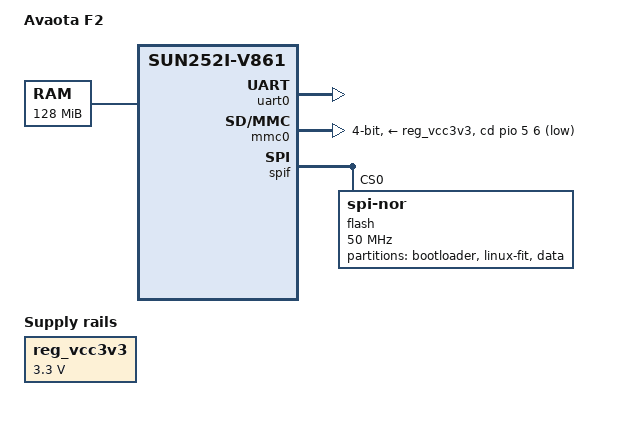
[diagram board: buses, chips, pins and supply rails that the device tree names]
// SPDX-License-Identifier: (GPL-2.0-only OR MIT)
/* Copyright (c) 2026 Han Gao <gaohan@iscas.ac.cn> */

/dts-v1/;

#include "sun252i-v861.dtsi"
#include <dt-bindings/gpio/gpio.h>

/ {
	model = "Avaota F2";
	compatible = "avaota,avaota-f2", "allwinner,sun252i-v861";

	aliases {
		serial0 = &uart0;
		mmc0 = &mmc0;
		spi0 = &spif;
	};

	reg_vcc3v3: regulator-vcc3v3 {
		compatible = "regulator-fixed";
		regulator-name = "vcc-3v3";
		regulator-min-microvolt = <3300000>;
		regulator-max-microvolt = <3300000>;
		regulator-always-on;
	};

	chosen {
		stdout-path = "serial0:115200n8";
	};

	/* U-Boot updates this node with the detected DRAM capacity. */
	memory@40000000 {
		device_type = "memory";
		reg = <0 0x40000000 0 0x08000000>;
	};
};

&uart0 {
	status = "okay";
};

&pio {
	vcc-pc-supply = <&reg_vcc3v3>;
	vcc-pf-supply = <&reg_vcc3v3>;
};

&mmc0 {
	vmmc-supply = <&reg_vcc3v3>;
	vqmmc-supply = <&reg_vcc3v3>;
	bus-width = <4>;
	max-frequency = <50000000>;
	cap-sd-highspeed;
	no-1-8-v;
	cd-gpios = <&pio 5 6 (GPIO_ACTIVE_LOW | GPIO_PULL_UP)>;
	status = "okay";
};

&spif {
	status = "okay";

	flash@0 {
		compatible = "jedec,spi-nor";
		reg = <0>;
		spi-max-frequency = <50000000>;
		spi-rx-bus-width = <1>;
		spi-tx-bus-width = <1>;

		partitions {
			compatible = "fixed-partitions";
			#address-cells = <1>;
			#size-cells = <1>;

			partition@0 {
				label = "bootloader";
				reg = <0 0x100000>;
				read-only;
			};

			partition@100000 {
				label = "linux-fit";
				reg = <0x100000 0x700000>;
				read-only;
			};

			partition@800000 {
				label = "data";
				reg = <0x800000 0x800000>;
			};
		};
	};
};
